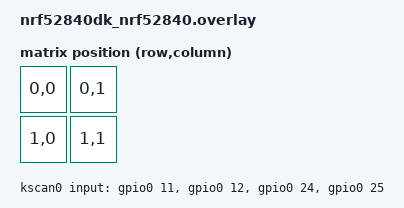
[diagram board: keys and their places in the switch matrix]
#include <behaviors.dtsi>
#include <dt-bindings/zmk/keys.h>
#include <dt-bindings/zmk/matrix_transform.h>

/ {
    chosen {
        zmk,kscan = &kscan0;
        zmk,matrix-transform = &layout_grid_transform;
    };

    kscan0: kscan {
        compatible = "zmk,kscan-gpio-direct";
        label = "direct";
        input-gpios
            = <&gpio0 11 (GPIO_PULL_UP | GPIO_ACTIVE_LOW)>,
            <&gpio0 12 (GPIO_PULL_UP | GPIO_ACTIVE_LOW)>,
            <&gpio0 24 (GPIO_PULL_UP | GPIO_ACTIVE_LOW)>,
            <&gpio0 25 (GPIO_PULL_UP | GPIO_ACTIVE_LOW)>
            ;
    };

    layout_grid_transform:
        keymap_transform_0 {
            compatible = "zmk,matrix-transform";
            columns = <2>;
            rows = <2>;
            map = <
            RC(0,0) RC(0,1)
            RC(1,0) RC(1,1)
            >;
    };
};
